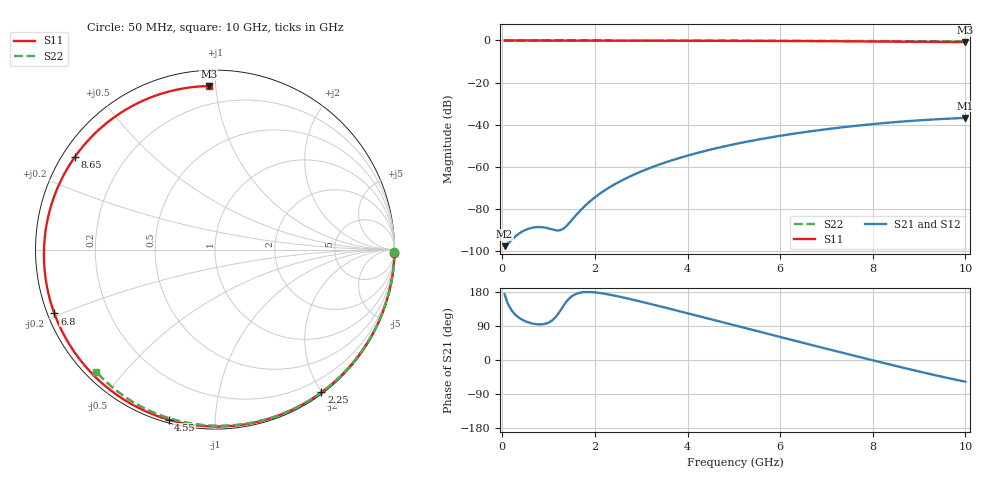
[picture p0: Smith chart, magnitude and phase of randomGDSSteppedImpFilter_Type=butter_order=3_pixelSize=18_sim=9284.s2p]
! freq	dB(S11)	phase(S11)	dB(S12)	phase(S12)
!  dB(S21)	phase(S21)	dB(S22)	phase(S22)
!S-par simulation data
#  GHz  S  DB  R 50
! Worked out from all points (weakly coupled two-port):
!   200 points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, 50 MHz to 10 GHz, reference 50 ohm
!   highest |S21| = -36.72 dB at 10 GHz (marker M1); lowest = -97.5 dB at 50 MHz (marker M2)
!   lowest |S11| = -0.8 dB at 10 GHz (marker M3), VSWR 21.67, Z = 4.44 + j47.9 ohm
!   |S11| at or under -10 dB: nowhere
!   |S22| runs from -0.5 to 0.0 dB; largest |S21 - S12| = 0
!   S11 on the Smith chart (normalised r, x): 50 MHz: 0, -95; 2.25 GHz: 0.02, -1.99; 4.55 GHz: 0.01, -0.76; 6.8 GHz: 0.02, -0.19; 8.65 GHz: 0.04, +0.30; 10 GHz: 0.09, +0.96
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0.05  -0.00 -1.2  -97.52 174.0  -97.52 174.0  -0.00 -0.8
0.85  -0.02 -20.4  -88.52 94.1  -88.52 94.1  -0.01 -13.0
1.7  -0.05 -40.5  -80.26 178.1  -80.26 178.1  -0.03 -25.9
1.75  -0.05 -41.7  -79.16 179.0  -79.16 179.0  -0.03 -26.6
2  -0.06 -47.5  -74.37 178.4  -74.37 178.4  -0.04 -30.3
2.25  -0.07 -53.3  -70.51 174.0  -70.51 174.0  -0.04 -34.0
2.75  -0.08 -64.8  -64.53 161.1  -64.53 161.1  -0.05 -41.3
3.4  -0.11 -79.5  -58.75 141.9  -58.75 141.9  -0.07 -50.7
3.95  -0.13 -91.8  -54.91 124.9  -54.91 124.9  -0.08 -58.4
4.55  -0.16 -105.3  -51.45 106.1  -51.45 106.1  -0.10 -66.6
5.05  -0.18 -116.6  -49.01 90.4  -49.01 90.4  -0.11 -73.3
5.85  -0.24 -135.0  -45.73 65.3  -45.73 65.3  -0.14 -83.8
6.7  -0.32 -155.8  -42.93 38.9  -42.93 38.9  -0.18 -94.5
6.8  -0.33 -158.3  -42.63 35.8  -42.63 35.8  -0.19 -95.8
7.6  -0.42 180.0  -40.54 11.3  -40.54 11.3  -0.24 -105.6
8  -0.48 168.0  -39.65 -0.8  -39.65 -0.8  -0.26 -110.4
8.35  -0.53 156.9  -38.95 -11.3  -38.95 -11.3  -0.29 -114.6
8.65  -0.57 146.6  -38.41 -20.2  -38.41 -20.2  -0.32 -118.2
9  -0.63 133.9  -37.86 -30.3  -37.86 -30.3  -0.35 -122.3
9.4  -0.70 118.1  -37.33 -41.6  -37.33 -41.6  -0.39 -127.0
9.7  -0.75 105.5  -37.00 -49.6  -37.00 -49.6  -0.42 -130.6
10  -0.80 92.2  -36.72 -57.3  -36.72 -57.3  -0.46 -134.2
